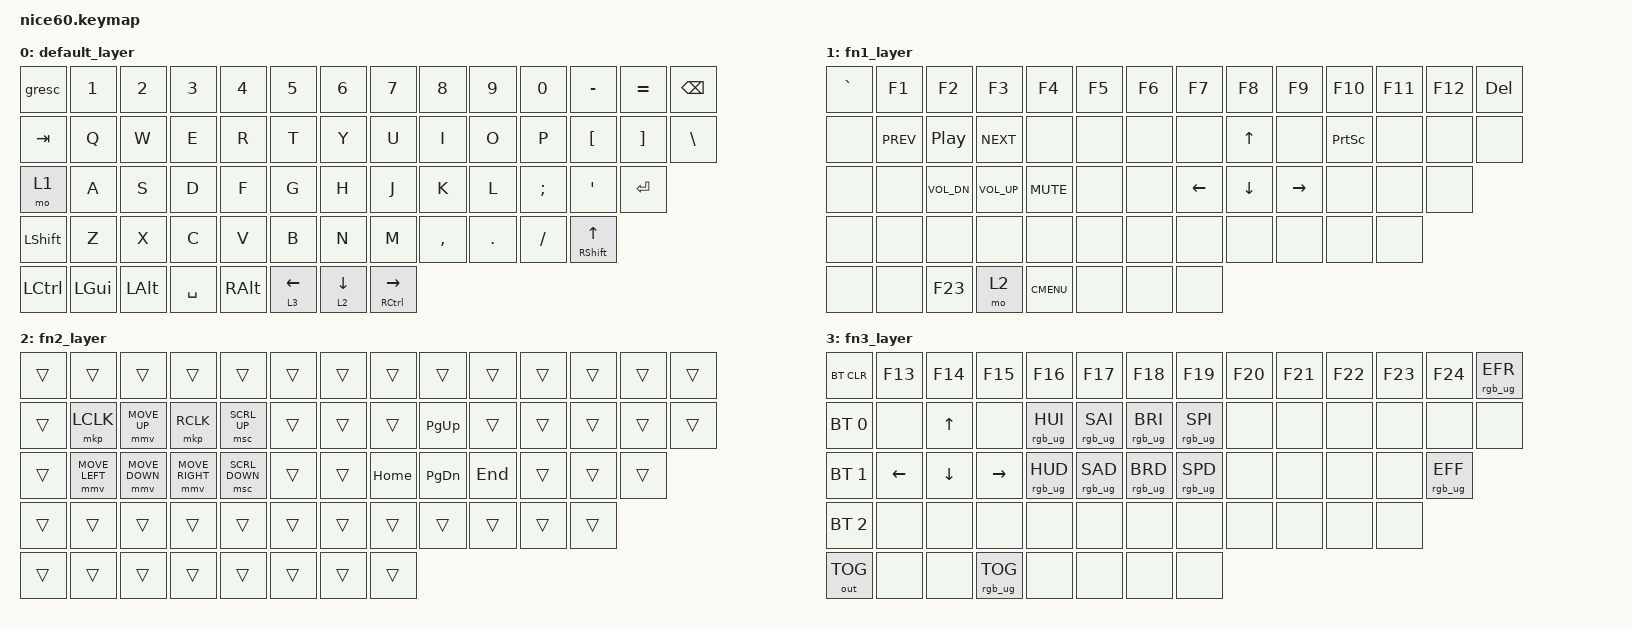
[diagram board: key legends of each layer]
/*
 * Copyright (c) 2021 Nick Winans
 *
 * SPDX-License-Identifier: MIT
 */

#include <behaviors.dtsi>
#include <dt-bindings/zmk/keys.h>
#include <dt-bindings/zmk/rgb.h>
#include <dt-bindings/zmk/bt.h>
#include <dt-bindings/zmk/outputs.h>
#include <dt-bindings/zmk/reset.h>
#include <dt-bindings/zmk/ext_power.h>
#include <dt-bindings/zmk/pointing.h>

#define ZMK_POINTING_DEFAULT_MOVE_VAL 1500

&kscan0 {
  debounce-period = <10>;
  col-gpios
    = <&gpio1 15 GPIO_ACTIVE_HIGH>
    , <&gpio0 29 GPIO_ACTIVE_HIGH>
    , <&gpio0 31 GPIO_ACTIVE_HIGH>
    , <&gpio0 30 GPIO_ACTIVE_HIGH>
    , <&gpio0 28 GPIO_ACTIVE_HIGH>
    , <&gpio0 2  GPIO_ACTIVE_HIGH>
    , <&gpio0 24 GPIO_ACTIVE_HIGH>
    , <&gpio1 3  GPIO_ACTIVE_HIGH>
    , <&gpio1 7  GPIO_ACTIVE_HIGH>
    , <&gpio1 4  GPIO_ACTIVE_HIGH>
    , <&gpio1 6  GPIO_ACTIVE_HIGH>
    , <&gpio1 5  GPIO_ACTIVE_HIGH>
    , <&gpio1 1  GPIO_ACTIVE_HIGH>
    , <&gpio1 2  GPIO_ACTIVE_HIGH>
    ;
};

&mmv {
	acceleration-exponent=<1>;
	time-to-max-speed-ms = <1000>;
};

&msc {
	acceleration-exponent=<0>;
	//time-to-max-speed-ms = <500>;
};

/ {

	keymap {
		compatible = "zmk,keymap";

		default_layer {
			// ------------------------------------------------------------------------------------------
			// | ESC |  1  |  2  |  3  |  4  |  5  |  6  |  7  |  8  |  9  |  0  |  -  |  =  |   BKSP   |
			// | TAB  |  Q  |  W  |  E  |  R  |  T  |  Y  |  U  |  I  |  O  |  P  |  [  |  ]  |   "|"   |
			// | FNL_1  |  A  |  S  |  D  |  F  |  G  |  H  |  J  |  K  |  L  |  ;  |  '  |     ENTER   |
			// | SHIFT   |  Z  |  X  |  C  |  V  |  B  |  N  |  M  |  ,  |  .  |  /  |      SHIFT       |
			// | CTRL  |  WIN  |  ALT  |             SPACE             |  ALT  | FNL_3 | FNL_2 |  CTRL  |
			// ------------------------------------------------------------------------------------------
			bindings = <
				&gresc    &kp N1   &kp N2   &kp N3    &kp N4   &kp N5     &kp N6     &kp N7          &kp N8    &kp N9  &kp N0   &kp MINUS    &kp EQUAL &kp BSPC
				&kp TAB   &kp Q    &kp W    &kp E     &kp R    &kp T      &kp Y      &kp U           &kp I     &kp O   &kp P    &kp LBKT     &kp RBKT  &kp BSLH
				&mo 1     &kp A    &kp S    &kp D     &kp F    &kp G      &kp H      &kp J           &kp K     &kp L   &kp SEMI &kp SQT      &kp RET
				&kp LSHFT &kp Z    &kp X    &kp C     &kp V    &kp B      &kp N      &kp M           &kp COMMA &kp DOT &kp FSLH &mt RSHFT UP
				&kp LCTRL &kp LGUI &kp LALT &kp SPACE &kp RALT &lt 3 LEFT &lt 2 DOWN &mt RCTRL RIGHT
			>;
		};
		
		//
		fn1_layer{
			bindings = <
				&kp GRAVE &kp F1     &kp F2       &kp F3       &kp F4      &kp F5 &kp F6 &kp F7   &kp F8   &kp F9    &kp F10   &kp F11 &kp F12 &kp DEL
				&none     &kp C_PREV &kp C_PP     &kp C_NEXT   &none       &none  &none  &none    &kp UP   &none     &kp PSCRN &none   &none   &none
				&none     &none      &kp C_VOL_DN &kp C_VOL_UP &kp C_MUTE  &none  &none  &kp LEFT &kp DOWN &kp RIGHT &none     &none   &none
				&none     &none      &none        &none        &none       &none  &none  &none    &none    &none     &none     &none
				&none     &none      &kp F23      &mo 2        &kp K_CMENU &none  &none  &none
			>;
		};

		//
		fn2_layer{
			bindings = <
				&trans &trans         &trans         &trans          &trans           &trans &trans &trans   &trans    &trans  &trans &trans &trans &trans
				&trans &mkp LCLK      &mmv MOVE_UP   &mkp RCLK       &msc SCRL_UP   &trans &trans &trans   &kp PG_UP &trans  &trans &trans &trans &trans
				&trans &mmv MOVE_LEFT &mmv MOVE_DOWN &mmv MOVE_RIGHT &msc SCRL_DOWN &trans &trans &kp HOME &kp PG_DN &kp END &trans &trans &trans
				&trans &trans         &trans         &trans          &trans           &trans &trans &trans   &trans    &trans  &trans &trans
				&trans &trans         &trans         &trans          &trans           &trans &trans &trans
			>;
		};

		//this layer is mainly reserved to be for bluetooth and RGB control
		fn3_layer {
			// ------------------------------------------------------------------------------------------------
			// | BT CLR | F13 | F14 | F15 | F16 | F17 | F18 | F19 | F20 | F21 | F22  | F23 | F24 | EFFECT REV |
			// |  BT 1   |   |  UP |   | HUEUP | SATUP | BRIUP | SPDUP |   |     |    |     |     |           |
			// |   BT 2   | LT |  DN  | RT | HUEDN | SATDN | BRIDN | SPDDN |   |     |   |     |  EFFECT FORW |
			// |    BT 3     |     |      |      |     |     |     |     |     |     |     |                  |
			// | TOG OUT |      |      |             TOG RGB                |         |       |       |       |
			// ------------------------------------------------------------------------------------------------
			bindings = <
				&bt BT_CLR   &kp F13  &kp F14  &kp F15         &kp F16         &kp F17         &kp F18         &kp F19         &kp F20 &kp F21 &kp F22 &kp F23 &kp F24         &rgb_ug RGB_EFR
				&bt BT_SEL 0 &none    &kp UP   &none           &rgb_ug RGB_HUI &rgb_ug RGB_SAI &rgb_ug RGB_BRI &rgb_ug RGB_SPI &none   &none   &none   &none   &none           &none
				&bt BT_SEL 1 &kp LEFT &kp DOWN &kp RIGHT       &rgb_ug RGB_HUD &rgb_ug RGB_SAD &rgb_ug RGB_BRD &rgb_ug RGB_SPD &none   &none   &none   &none   &rgb_ug RGB_EFF
				&bt BT_SEL 2 &none    &none    &none           &none           &none           &none           &none           &none   &none   &none   &none
				&out OUT_TOG &none    &none    &rgb_ug RGB_TOG &none           &none           &none           &none
			>;
		};
	};
};
